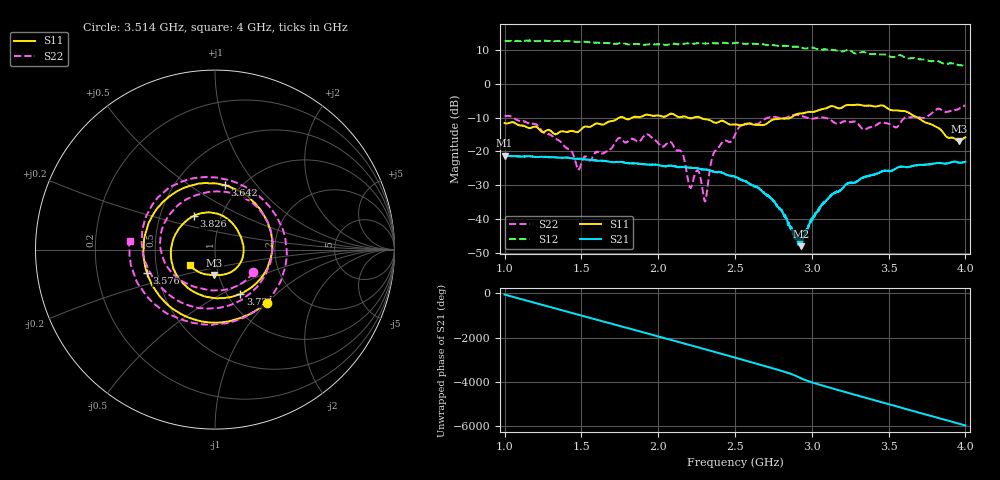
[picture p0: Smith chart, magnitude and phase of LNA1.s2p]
!Agilent Technologies,E8364A,US41440144,A.06.04.32
!Agilent E8364A: A.06.04.32
!Date: Tuesday, February 12, 2019 15:10:40
!Correction: S11(Off) S21(Off) S12(Off) S22(Off)
!S2P File: Measurements: S11, S21, S12, S22:
# Hz S  dB  R 50
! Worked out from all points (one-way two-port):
!   1601 points, 1 GHz to 4 GHz, reference 50 ohm
!   highest |S21| = -21.27 dB at 1 GHz (marker M1); lowest = -48.1 dB at 2.928 GHz (marker M2)
!   lowest |S11| = -17.0 dB at 3.959 GHz (marker M3), VSWR 1.33, Z = 47.7 - j13.8 ohm
!   |S11| at or under -10 dB: start of sweep to 1.743 GHz; 2.275 GHz to 2.861 GHz (586.1 MHz wide, 22.8 % of centre); 3.691 GHz to end of sweep (the widest 3 of 5)
!   |S22| runs from -34.9 to -6.4 dB; largest |S21 - S12| = 4.5
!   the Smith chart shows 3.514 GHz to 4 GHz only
!   S11 on the Smith chart (normalised r, x): 3.514 GHz: 1.39, -0.99; 3.576 GHz: 0.44, -0.14; 3.642 GHz: 0.85, +0.70; 3.721 GHz: 1.15, -0.62; 3.826 GHz: 0.74, +0.29; 4 GHz: 0.75, -0.13
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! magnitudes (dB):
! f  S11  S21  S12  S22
! 1 GHz  -11.6  -21.3  12.7  -9.5
! 1.501 GHz  -13.4  -22.3  12.5  -23.5
! 1.746 GHz  -9.9  -23.1  12.1  -16.0
! 2.001 GHz  -9.3  -24.0  11.8  -17.6
! 2.147 GHz  -9.8  -24.6  11.7  -19.9
! 2.206 GHz  -10.1  -24.9  12.0  -30.7
! 2.258 GHz  -9.7  -25.0  12.1  -25.8
! 2.305 GHz  -10.5  -25.4  12.0  -34.9
! 2.365 GHz  -11.4  -26.1  12.1  -20.3
! 2.5 GHz  -12.0  -27.4  12.2  -15.0
! 2.731 GHz  -10.9  -33.7  11.5  -9.9
! 2.928 GHz  -8.7  -48.1  10.9  -9.4
! 3.001 GHz  -8.3  -40.4  10.8  -10.3
! 3.231 GHz  -6.2  -29.6  10.0  -11.2
! 3.501 GHz  -7.5  -25.8  8.4  -11.8
! 3.514 GHz  -7.7  -25.8  8.1  -12.1
! 3.576 GHz  -7.9  -24.5  8.5  -11.6
! 3.642 GHz  -8.8  -24.5  7.6  -9.9
! 3.721 GHz  -10.9  -24.0  7.3  -10.1
! 3.826 GHz  -13.1  -23.5  6.7  -7.3
! 3.959 GHz  -17.0  -23.3  5.6  -7.3
! 4 GHz  -15.8  -23.1  5.3  -6.4
